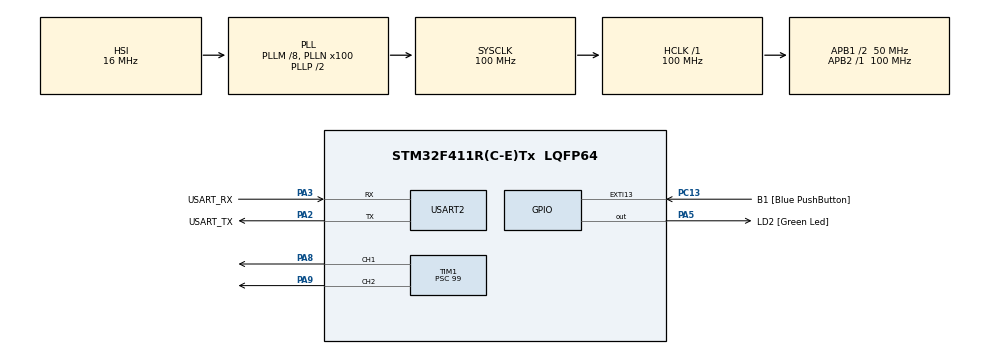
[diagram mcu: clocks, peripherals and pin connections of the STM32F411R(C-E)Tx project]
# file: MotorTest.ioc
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Mcu.Family=STM32F4
Mcu.Name=STM32F411R(C-E)Tx
Mcu.Package=LQFP64
NVIC.PriorityGroup=NVIC_PRIORITYGROUP_0
PA13.GPIO_Label=TMS
PA13.Mode=Serial_Wire
PA13.Signal=SYS_JTMS-SWDIO
PA14.GPIO_Label=TCK
PA14.Mode=Serial_Wire
PA14.Signal=SYS_JTCK-SWCLK
PA2.GPIO_Label=USART_TX
PA2.Mode=Asynchronous
PA2.Signal=USART2_TX
PA3.GPIO_Label=USART_RX
PA3.Mode=Asynchronous
PA3.Signal=USART2_RX
PA5.GPIO_Label=LD2 [Green Led]
PA5.Signal=GPIO_Output
PA8.Signal=S_TIM1_CH1
PA9.Signal=S_TIM1_CH2
PB3.GPIO_Label=SWO
PB3.Signal=SYS_JTDO-SWO
PC13-ANTI_TAMP.GPIO_Label=B1 [Blue PushButton]
PC13-ANTI_TAMP.GPIO_ModeDefaultEXTI=GPIO_MODE_IT_FALLING
PC13-ANTI_TAMP.Signal=GPXTI13
PC14-OSC32_IN.Mode=LSE-External-Oscillator
PC14-OSC32_IN.Signal=RCC_OSC32_IN
PC15-OSC32_OUT.Mode=LSE-External-Oscillator
PC15-OSC32_OUT.Signal=RCC_OSC32_OUT
PH0\ -\ OSC_IN.Mode=HSE-External-Clock-Source
PH0\ -\ OSC_IN.Signal=RCC_OSC_IN
PH1\ -\ OSC_OUT.Mode=HSE-External-Clock-Source
PH1\ -\ OSC_OUT.Signal=RCC_OSC_OUT
ProjectManager.HeapSize=0x200
ProjectManager.StackSize=0x400
ProjectManager.TargetToolchain=STM32CubeIDE
RCC.48MHZClocksFreq_Value=50000000
RCC.AHBFreq_Value=100000000
RCC.APB1CLKDivider=RCC_HCLK_DIV2
RCC.APB1Freq_Value=50000000
RCC.APB1TimFreq_Value=100000000
RCC.APB2Freq_Value=100000000
RCC.APB2TimFreq_Value=100000000
RCC.CortexFreq_Value=100000000
RCC.FLatency-AdvancedSettings=FLASH_LATENCY_3
RCC.HCLKFreq_Value=100000000
RCC.HSE_VALUE=8000000
RCC.HSI_VALUE=16000000
RCC.PLLM=8
RCC.PLLN=100
RCC.SYSCLKFreq_VALUE=100000000
RCC.SYSCLKSource=RCC_SYSCLKSOURCE_PLLCLK
RCC.VCOOutputFreq_Value=200000000
SH.S_TIM1_CH1.0=TIM1_CH1,PWM Generation1 CH1
SH.S_TIM1_CH2.0=TIM1_CH2,PWM Generation2 CH2
TIM1.Channel-PWM\ Generation1\ CH1=TIM_CHANNEL_1
TIM1.Channel-PWM\ Generation2\ CH2=TIM_CHANNEL_2
TIM1.Period=1000
TIM1.Prescaler=99
USART2.VirtualMode=VM_ASYNC
board=NUCLEO-F411RE

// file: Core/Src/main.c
/* USER CODE BEGIN Header */
/**
  ******************************************************************************
  * @file           : main.c
  * @brief          : Main program body
  ******************************************************************************
  * @attention
  *
  * Copyright (c) 2023 STMicroelectronics.
  * All rights reserved.
  *
  * This software is licensed under terms that can be found in the LICENSE file
  * in the root directory of this software component.
  * If no LICENSE file comes with this software, it is provided AS-IS.
  *
  ******************************************************************************
  */
/* USER CODE END Header */
#include "main.h"

/* USER CODE BEGIN Includes */
#include <math.h>
/* USER CODE END Includes */

/* USER CODE BEGIN PD */
#define MAX_SPEED 990
/* USER CODE END PD */

TIM_HandleTypeDef htim1;

UART_HandleTypeDef huart2;

/* USER CODE BEGIN PV */
void setMotorSpeed(int16_t speed){
  if(speed<0){
	  __HAL_TIM_SET_COMPARE(&htim1,TIM_CHANNEL_2,0);
	  __HAL_TIM_SET_COMPARE(&htim1,TIM_CHANNEL_1,-speed);
  }else{
	  __HAL_TIM_SET_COMPARE(&htim1,TIM_CHANNEL_1,0);
	  __HAL_TIM_SET_COMPARE(&htim1,TIM_CHANNEL_2,speed);
  }
}
/* USER CODE END PV */

void SystemClock_Config(void);
static void MX_GPIO_Init(void);
static void MX_USART2_UART_Init(void);
static void MX_TIM1_Init(void);

int main(void)
{

  /* MCU Configuration--------------------------------------------------------*/

  /* Reset of all peripherals, Initializes the Flash interface and the Systick. */
  HAL_Init();

  /* Configure the system clock */
  SystemClock_Config();

  /* Initialize all configured peripherals */
  MX_GPIO_Init();
  MX_USART2_UART_Init();
  MX_TIM1_Init();
  /* USER CODE BEGIN 2 */
  HAL_TIM_PWM_Start(&htim1, TIM_CHANNEL_1);
  HAL_TIM_PWM_Start(&htim1, TIM_CHANNEL_2);
  setMotorSpeed(0);
  /* USER CODE END 2 */

  /* Infinite loop */
  /* USER CODE BEGIN WHILE */
  while (1)
  {
//	  setMotorSpeed(MAX_SPEED*sin(HAL_GetTick()/100.0));
	  setMotorSpeed(MAX_SPEED);
	  HAL_Delay(1000);
	  setMotorSpeed(-MAX_SPEED);
	  HAL_Delay(1000);
    /* USER CODE END WHILE */

  }
}

void SystemClock_Config(void)
{
  RCC_OscInitTypeDef RCC_OscInitStruct = {0};
  RCC_ClkInitTypeDef RCC_ClkInitStruct = {0};

  /** Configure the main internal regulator output voltage
  */
  __HAL_RCC_PWR_CLK_ENABLE();
  __HAL_PWR_VOLTAGESCALING_CONFIG(PWR_REGULATOR_VOLTAGE_SCALE1);

  /** Initializes the RCC Oscillators according to the specified parameters
  * in the RCC_OscInitTypeDef structure.
  */
  RCC_OscInitStruct.OscillatorType = RCC_OSCILLATORTYPE_HSI;
  RCC_OscInitStruct.HSIState = RCC_HSI_ON;
  RCC_OscInitStruct.HSICalibrationValue = RCC_HSICALIBRATION_DEFAULT;
  RCC_OscInitStruct.PLL.PLLState = RCC_PLL_ON;
  RCC_OscInitStruct.PLL.PLLSource = RCC_PLLSOURCE_HSI;
  RCC_OscInitStruct.PLL.PLLM = 8;
  RCC_OscInitStruct.PLL.PLLN = 100;
  RCC_OscInitStruct.PLL.PLLP = RCC_PLLP_DIV2;
  RCC_OscInitStruct.PLL.PLLQ = 4;
  if (HAL_RCC_OscConfig(&RCC_OscInitStruct) != HAL_OK)
  {
    Error_Handler();
  }

  /** Initializes the CPU, AHB and APB buses clocks
  */
  RCC_ClkInitStruct.ClockType = RCC_CLOCKTYPE_HCLK|RCC_CLOCKTYPE_SYSCLK
                              |RCC_CLOCKTYPE_PCLK1|RCC_CLOCKTYPE_PCLK2;
  RCC_ClkInitStruct.SYSCLKSource = RCC_SYSCLKSOURCE_PLLCLK;
  RCC_ClkInitStruct.AHBCLKDivider = RCC_SYSCLK_DIV1;
  RCC_ClkInitStruct.APB1CLKDivider = RCC_HCLK_DIV2;
  RCC_ClkInitStruct.APB2CLKDivider = RCC_HCLK_DIV1;

  if (HAL_RCC_ClockConfig(&RCC_ClkInitStruct, FLASH_LATENCY_3) != HAL_OK)
  {
    Error_Handler();
  }
}

static void MX_TIM1_Init(void)
{

  TIM_MasterConfigTypeDef sMasterConfig = {0};
  TIM_OC_InitTypeDef sConfigOC = {0};
  TIM_BreakDeadTimeConfigTypeDef sBreakDeadTimeConfig = {0};

  htim1.Instance = TIM1;
  htim1.Init.Prescaler = 99;
  htim1.Init.CounterMode = TIM_COUNTERMODE_UP;
  htim1.Init.Period = 1000;
  htim1.Init.ClockDivision = TIM_CLOCKDIVISION_DIV1;
  htim1.Init.RepetitionCounter = 0;
  htim1.Init.AutoReloadPreload = TIM_AUTORELOAD_PRELOAD_DISABLE;
  if (HAL_TIM_PWM_Init(&htim1) != HAL_OK)
  {
    Error_Handler();
  }
  sMasterConfig.MasterOutputTrigger = TIM_TRGO_RESET;
  sMasterConfig.MasterSlaveMode = TIM_MASTERSLAVEMODE_DISABLE;
  if (HAL_TIMEx_MasterConfigSynchronization(&htim1, &sMasterConfig) != HAL_OK)
  {
    Error_Handler();
  }
  sConfigOC.OCMode = TIM_OCMODE_PWM1;
  sConfigOC.Pulse = 0;
  sConfigOC.OCPolarity = TIM_OCPOLARITY_HIGH;
  sConfigOC.OCNPolarity = TIM_OCNPOLARITY_HIGH;
  sConfigOC.OCFastMode = TIM_OCFAST_DISABLE;
  sConfigOC.OCIdleState = TIM_OCIDLESTATE_RESET;
  sConfigOC.OCNIdleState = TIM_OCNIDLESTATE_RESET;
  if (HAL_TIM_PWM_ConfigChannel(&htim1, &sConfigOC, TIM_CHANNEL_1) != HAL_OK)
  {
    Error_Handler();
  }
  if (HAL_TIM_PWM_ConfigChannel(&htim1, &sConfigOC, TIM_CHANNEL_2) != HAL_OK)
  {
    Error_Handler();
  }
  sBreakDeadTimeConfig.OffStateRunMode = TIM_OSSR_DISABLE;
  sBreakDeadTimeConfig.OffStateIDLEMode = TIM_OSSI_DISABLE;
  sBreakDeadTimeConfig.LockLevel = TIM_LOCKLEVEL_OFF;
  sBreakDeadTimeConfig.DeadTime = 0;
  sBreakDeadTimeConfig.BreakState = TIM_BREAK_DISABLE;
  sBreakDeadTimeConfig.BreakPolarity = TIM_BREAKPOLARITY_HIGH;
  sBreakDeadTimeConfig.AutomaticOutput = TIM_AUTOMATICOUTPUT_DISABLE;
  if (HAL_TIMEx_ConfigBreakDeadTime(&htim1, &sBreakDeadTimeConfig) != HAL_OK)
  {
    Error_Handler();
  }
  HAL_TIM_MspPostInit(&htim1);

}

static void MX_USART2_UART_Init(void)
{

  huart2.Instance = USART2;
  huart2.Init.BaudRate = 115200;
  huart2.Init.WordLength = UART_WORDLENGTH_8B;
  huart2.Init.StopBits = UART_STOPBITS_1;
  huart2.Init.Parity = UART_PARITY_NONE;
  huart2.Init.Mode = UART_MODE_TX_RX;
  huart2.Init.HwFlowCtl = UART_HWCONTROL_NONE;
  huart2.Init.OverSampling = UART_OVERSAMPLING_16;
  if (HAL_UART_Init(&huart2) != HAL_OK)
  {
    Error_Handler();
  }

}

static void MX_GPIO_Init(void)
{
  GPIO_InitTypeDef GPIO_InitStruct = {0};

  /* GPIO Ports Clock Enable */
  __HAL_RCC_GPIOC_CLK_ENABLE();
  __HAL_RCC_GPIOH_CLK_ENABLE();
  __HAL_RCC_GPIOA_CLK_ENABLE();
  __HAL_RCC_GPIOB_CLK_ENABLE();

  /*Configure GPIO pin Output Level */
  HAL_GPIO_WritePin(LD2_GPIO_Port, LD2_Pin, GPIO_PIN_RESET);

  /*Configure GPIO pin : B1_Pin */
  GPIO_InitStruct.Pin = B1_Pin;
  GPIO_InitStruct.Mode = GPIO_MODE_IT_FALLING;
  GPIO_InitStruct.Pull = GPIO_NOPULL;
  HAL_GPIO_Init(B1_GPIO_Port, &GPIO_InitStruct);

  /*Configure GPIO pin : LD2_Pin */
  GPIO_InitStruct.Pin = LD2_Pin;
  GPIO_InitStruct.Mode = GPIO_MODE_OUTPUT_PP;
  GPIO_InitStruct.Pull = GPIO_NOPULL;
  GPIO_InitStruct.Speed = GPIO_SPEED_FREQ_LOW;
  HAL_GPIO_Init(LD2_GPIO_Port, &GPIO_InitStruct);

}

void Error_Handler(void)
{
  __disable_irq();
  while (1)
  {
  }
}
